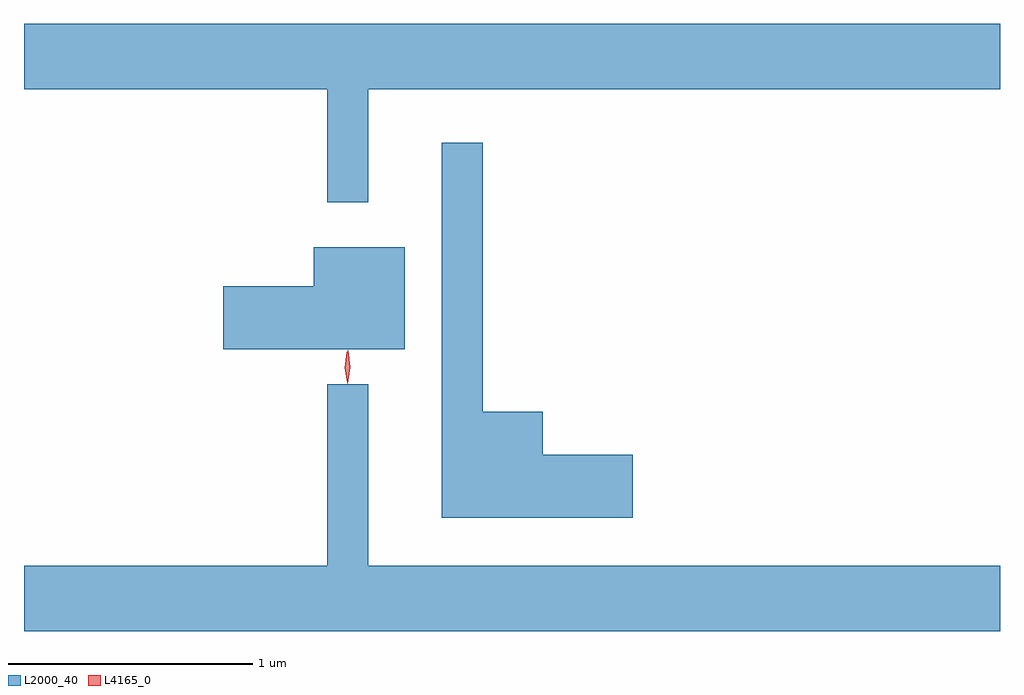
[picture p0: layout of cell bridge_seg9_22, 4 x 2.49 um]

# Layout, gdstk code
import gdstk
lib = gdstk.Library(unit=1e-6, precision=1e-09)
def P(c, l, *ps):  # polygons
    for p in ps: c.add(gdstk.Polygon(p, *l))
L2000_40 = (2000, 40)
L4165_0 = (4165, 0)

bridge_seg9_22 = lib.new_cell('bridge_seg9_22')
P(bridge_seg9_22, L2000_40, [(1576.379,2067.296),(1578.969,2067.296),(1578.969,2067.564),(1574.969,2067.564),(1574.969,2067.296),(1576.211,2067.296),(1576.211,2066.833),(1576.379,2066.833)],
  [(1577.464,2065.799),(1577.094,2065.799),(1577.094,2065.974),(1576.849,2065.974),(1576.849,2067.077),(1576.681,2067.077),(1576.681,2065.541),(1577.464,2065.541)],
  [(1576.529,2066.649),(1576.156,2066.649),(1576.156,2066.489),(1575.786,2066.489),(1575.786,2066.231),(1576.529,2066.231)],
  [(1578.969,2065.344),(1576.379,2065.344),(1576.379,2066.088),(1576.211,2066.088),(1576.211,2065.344),(1574.969,2065.344),(1574.969,2065.076),(1578.969,2065.076)])
P(bridge_seg9_22, L4165_0, [(1576.295,2066.09),(1576.295,2066.09),(1576.286,2066.158),(1576.296,2066.226),(1576.297,2066.226),(1576.297,2066.226),(1576.306,2066.158),(1576.296,2066.09)],
  [(1576.293,2066.093),(1576.293,2066.094),(1576.283,2066.156),(1576.292,2066.219),(1576.292,2066.22),(1576.293,2066.219),(1576.303,2066.156),(1576.294,2066.094)])

lib.write_gds('bridge_seg9_22.gds')
